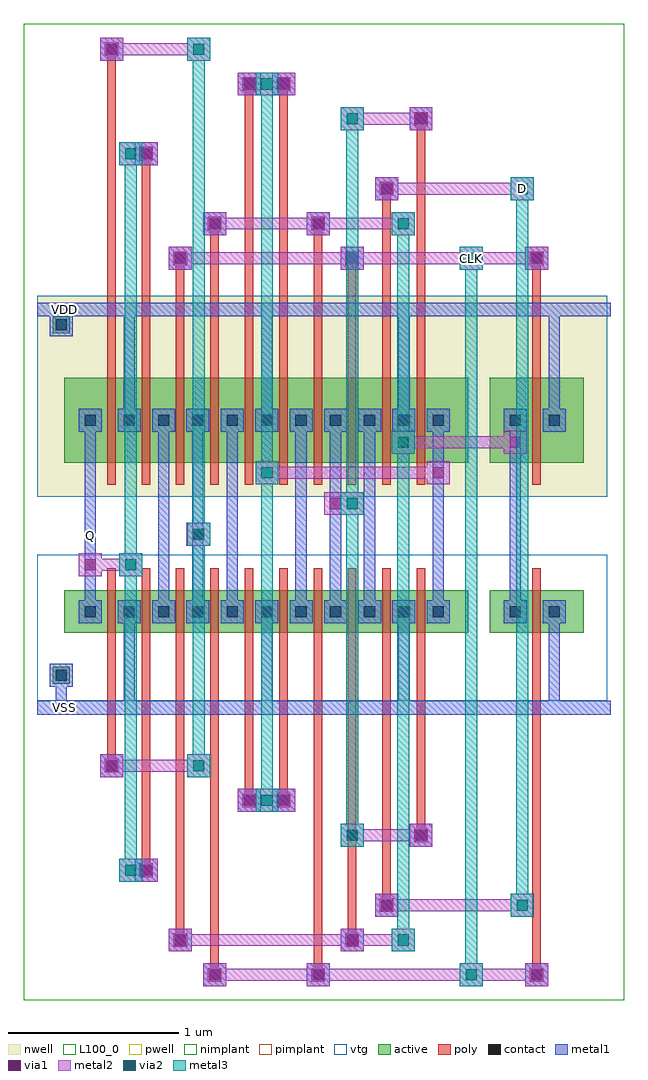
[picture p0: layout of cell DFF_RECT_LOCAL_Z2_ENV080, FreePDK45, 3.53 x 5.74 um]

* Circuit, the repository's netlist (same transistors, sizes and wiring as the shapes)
* cell DFF_RECT_LOCAL_Z2_ENV080
* pin CLK
* pin Q
* pin D
* pin VDD
* pin VSS
.SUBCKT DFF_RECT_LOCAL_Z2_ENV080 1 3 4 12 13
* net 1 CLK
* net 3 Q
* net 4 D
* net 12 VDD
* net 13 VSS
* device instance $1 r0 *1 0.4375,1.73 PMOS_VTG
M$1 12 7 3 12 PMOS_VTG L=0.05U W=0.5U AS=0.12625P AD=0.038125P PS=1.505U
+ PD=0.6525U
* device instance $2 r0 *1 0.64,1.73 PMOS_VTG
M$2 8 3 12 12 PMOS_VTG L=0.05U W=0.5U AS=0.038125P AD=0.0375P PS=0.6525U
+ PD=0.65U
* device instance $3 r0 *1 0.84,1.73 PMOS_VTG
M$3 7 1 8 12 PMOS_VTG L=0.05U W=0.5U AS=0.0375P AD=0.038125P PS=0.65U PD=0.6525U
* device instance $4 r0 *1 1.0425,1.73 PMOS_VTG
M$4 9 2 7 12 PMOS_VTG L=0.05U W=0.5U AS=0.038125P AD=0.038125P PS=0.6525U
+ PD=0.6525U
* device instance $5 r0 *1 1.245,1.73 PMOS_VTG
M$5 12 5 9 12 PMOS_VTG L=0.05U W=0.5U AS=0.038125P AD=0.038125P PS=0.6525U
+ PD=0.6525U
* device instance $6 r0 *1 1.4475,1.73 PMOS_VTG
M$6 10 5 12 12 PMOS_VTG L=0.05U W=0.5U AS=0.038125P AD=0.038125P PS=0.6525U
+ PD=0.6525U
* device instance $7 r0 *1 1.65,1.73 PMOS_VTG
M$7 6 2 10 12 PMOS_VTG L=0.05U W=0.5U AS=0.038125P AD=0.0375P PS=0.6525U
+ PD=0.65U
* device instance $8 r0 *1 1.85,1.73 PMOS_VTG
M$8 11 1 6 12 PMOS_VTG L=0.05U W=0.5U AS=0.0375P AD=0.038125P PS=0.65U
+ PD=0.6525U
* device instance $9 r0 *1 2.0525,1.73 PMOS_VTG
M$9 12 4 11 12 PMOS_VTG L=0.05U W=0.5U AS=0.038125P AD=0.038125P PS=0.6525U
+ PD=0.6525U
* device instance $10 r0 *1 2.255,1.73 PMOS_VTG
M$10 5 6 12 12 PMOS_VTG L=0.05U W=0.5U AS=0.038125P AD=0.12625P PS=0.6525U
+ PD=1.505U
* device instance $11 r0 *1 2.935,1.73 PMOS_VTG
M$11 12 1 2 12 PMOS_VTG L=0.05U W=0.5U AS=0.12625P AD=0.125P PS=1.505U PD=1.5U
* device instance $12 r0 *1 2.935,0.605 NMOS_VTG
M$12 13 1 2 13 NMOS_VTG L=0.05U W=0.25U AS=0.063125P AD=0.0625P PS=1.005U PD=1U
* device instance $13 r0 *1 0.4375,0.605 NMOS_VTG
M$13 13 7 3 13 NMOS_VTG L=0.05U W=0.25U AS=0.063125P AD=0.0190625P PS=1.005U
+ PD=0.4025U
* device instance $14 r0 *1 0.64,0.605 NMOS_VTG
M$14 8 3 13 13 NMOS_VTG L=0.05U W=0.25U AS=0.0190625P AD=0.01875P PS=0.4025U
+ PD=0.4U
* device instance $15 r0 *1 0.84,0.605 NMOS_VTG
M$15 7 2 8 13 NMOS_VTG L=0.05U W=0.25U AS=0.01875P AD=0.0190625P PS=0.4U
+ PD=0.4025U
* device instance $16 r0 *1 1.0425,0.605 NMOS_VTG
M$16 9 1 7 13 NMOS_VTG L=0.05U W=0.25U AS=0.0190625P AD=0.0190625P PS=0.4025U
+ PD=0.4025U
* device instance $17 r0 *1 1.245,0.605 NMOS_VTG
M$17 13 5 9 13 NMOS_VTG L=0.05U W=0.25U AS=0.0190625P AD=0.0190625P PS=0.4025U
+ PD=0.4025U
* device instance $18 r0 *1 1.4475,0.605 NMOS_VTG
M$18 10 5 13 13 NMOS_VTG L=0.05U W=0.25U AS=0.0190625P AD=0.0190625P PS=0.4025U
+ PD=0.4025U
* device instance $19 r0 *1 1.65,0.605 NMOS_VTG
M$19 6 1 10 13 NMOS_VTG L=0.05U W=0.25U AS=0.0190625P AD=0.01875P PS=0.4025U
+ PD=0.4U
* device instance $20 r0 *1 1.85,0.605 NMOS_VTG
M$20 11 2 6 13 NMOS_VTG L=0.05U W=0.25U AS=0.01875P AD=0.0190625P PS=0.4U
+ PD=0.4025U
* device instance $21 r0 *1 2.0525,0.605 NMOS_VTG
M$21 13 4 11 13 NMOS_VTG L=0.05U W=0.25U AS=0.0190625P AD=0.0190625P PS=0.4025U
+ PD=0.4025U
* device instance $22 r0 *1 2.255,0.605 NMOS_VTG
M$22 5 6 13 13 NMOS_VTG L=0.05U W=0.25U AS=0.0190625P AD=0.063125P PS=0.4025U
+ PD=1.005U
.ENDS DFF_RECT_LOCAL_Z2_ENV080

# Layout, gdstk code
import gdstk
lib = gdstk.Library(unit=1e-6, precision=2.5e-09)
def R(c, l, rs):  # rectangles x0, y0, x1, y1
    for r in rs: c.add(gdstk.rectangle(r[:2], r[2:], *l))
def A(c, l, x, y, w, h, nx, ny, dx, dy):  # array of equal rectangles
    R(c, l, [(x+i*dx, y+j*dy, x+i*dx+w, y+j*dy+h) for i in range(nx) for j in range(ny)])
active = (1, 0)
pwell = (2, 0)
nwell = (3, 0)
nimplant = (4, 0)
pimplant = (5, 0)
vtg = (6, 0)
poly = (9, 0)
contact = (10, 0)
metal1 = (11, 0)
via1 = (12, 0)
metal2 = (13, 0)
via2 = (14, 0)
metal3 = (15, 0)
L100_0 = (100, 0)

dff_rect_local_z2_env080 = lib.new_cell('DFF_RECT_LOCAL_Z2_ENV080')
R(dff_rect_local_z2_env080, active, [(0.09,0.18,0.19,0.28), (0.16,0.48,2.5325,0.73), (2.6575,0.48,3.21,0.73), (0.16,1.48,2.5325,1.98), (2.6575,1.48,3.21,1.98), (0.09,2.24,0.19,2.34)])
R(dff_rect_local_z2_env080, pwell, [(0,0.08,3.35,0.94), (0.02,0.24,3.35,0.94)])
R(dff_rect_local_z2_env080, nwell, [(0,1.28,3.35,2.46), (0.02,1.28,3.35,2.2)])
R(dff_rect_local_z2_env080, nimplant, [(0.16,0.48,2.5325,0.73), (2.6575,0.48,3.21,0.73), (0.09,2.24,0.19,2.34)])
R(dff_rect_local_z2_env080, pimplant, [(0.09,0.18,0.19,0.28), (0.16,1.48,2.5325,1.98), (2.6575,1.48,3.21,1.98)])
R(dff_rect_local_z2_env080, vtg, [(0,0.08,3.35,0.94), (0.02,0.24,3.35,0.94), (0,1.28,3.35,2.46), (0.02,1.28,3.35,2.2)])
A(dff_rect_local_z2_env080, poly, 0.815, 0.35, 0.05, 0.51, 5, 1, 0.2025, 0)
A(dff_rect_local_z2_env080, poly, 1.825, 0.35, 0.05, 0.51, 3, 1, 0.2025, 0)
A(dff_rect_local_z2_env080, poly, 0.815, 1.35, 0.05, 0.76, 5, 1, 0.2025, 0)
A(dff_rect_local_z2_env080, poly, 1.825, 1.35, 0.05, 0.76, 3, 1, 0.2025, 0)
R(dff_rect_local_z2_env080, poly, [(1.0025,-1.57,1.0825,-1.49), (1.0175,-1.57,1.0675,0.35), (1.61,-1.57,1.69,-1.49), (1.625,-1.57,1.675,0.35), (2.895,-1.57,2.975,-1.49), (2.91,-1.57,2.96,0.35), (0.8,-1.365,0.88,-1.285), (0.815,-1.365,0.865,0.35), (1.81,-1.365,1.89,-1.285), (1.825,-1.365,1.875,0.35), (2.0125,-1.16,2.0925,-1.08), (2.0275,-1.16,2.0775,0.35), (0.6,-0.955,0.68,-0.875), (0.615,-0.955,0.665,0.35), (2.215,-0.75,2.295,-0.67), (2.23,-0.75,2.28,0.35), (1.205,-0.545,1.285,-0.465), (1.22,-0.545,1.27,0.35), (1.4075,-0.545,1.4875,-0.465), (1.4225,-0.545,1.4725,0.35), (0.3975,-0.34,0.4775,-0.26), (0.4125,-0.34,0.4625,0.35), (0.4125,0.35,0.4625,0.86), (0.615,0.35,0.665,0.86), (2.91,0.35,2.96,0.86), (0.4125,1.35,0.4625,2.11), (0.615,1.35,0.665,2.11), (2.91,1.35,2.96,2.11), (0.4125,2.11,0.4625,3.95), (0.615,2.11,0.665,3.335), (0.815,2.11,0.865,2.72), (1.0175,2.11,1.0675,2.925), (1.22,2.11,1.27,3.745), (1.4225,2.11,1.4725,3.745), (1.625,2.11,1.675,2.925), (1.825,2.11,1.875,2.72), (2.0275,2.11,2.0775,3.13), (2.23,2.11,2.28,3.54), (2.91,2.11,2.96,2.72), (0.8,2.64,0.88,2.72), (1.81,2.64,1.89,2.72), (2.895,2.64,2.975,2.72), (1.0025,2.845,1.0825,2.925), (1.61,2.845,1.69,2.925), (2.0125,3.05,2.0925,3.13), (0.6,3.255,0.68,3.335), (2.215,3.46,2.295,3.54), (1.205,3.665,1.285,3.745), (1.4075,3.665,1.4875,3.745), (0.3975,3.87,0.4775,3.95)])
A(dff_rect_local_z2_env080, contact, 0.91, 0.5725, 0.065, 0.065, 5, 2, 0.2025, 1.125)
A(dff_rect_local_z2_env080, contact, 1.92, 0.5725, 0.065, 0.065, 3, 2, 0.2025, 1.125)
R(dff_rect_local_z2_env080, contact, [(1.01,-1.5625,1.075,-1.4975), (1.6175,-1.5625,1.6825,-1.4975), (2.9025,-1.5625,2.9675,-1.4975), (0.8075,-1.3575,0.8725,-1.2925), (1.8175,-1.3575,1.8825,-1.2925), (2.02,-1.1525,2.085,-1.0875), (0.6075,-0.9475,0.6725,-0.8825), (2.2225,-0.7425,2.2875,-0.6775), (1.2125,-0.5375,1.2775,-0.4725), (1.415,-0.5375,1.48,-0.4725), (0.405,-0.3325,0.47,-0.2675), (0.1075,0.1975,0.1725,0.2625), (0.28,0.5725,0.345,0.6375), (0.5075,0.5725,0.5725,0.6375), (0.71,0.5725,0.775,0.6375), (2.7775,0.5725,2.8425,0.6375), (3.005,0.5725,3.07,0.6375), (0.28,1.6975,0.345,1.7625), (0.5075,1.6975,0.5725,1.7625), (0.71,1.6975,0.775,1.7625), (2.7775,1.6975,2.8425,1.7625), (3.005,1.6975,3.07,1.7625), (0.1075,2.2575,0.1725,2.3225), (0.8075,2.6475,0.8725,2.7125), (1.8175,2.6475,1.8825,2.7125), (2.9025,2.6475,2.9675,2.7125), (1.01,2.8525,1.075,2.9175), (1.6175,2.8525,1.6825,2.9175), (2.02,3.0575,2.085,3.1225), (0.6075,3.2625,0.6725,3.3275), (2.2225,3.4675,2.2875,3.5325), (1.2125,3.6725,1.2775,3.7375), (1.415,3.6725,1.48,3.7375), (0.405,3.8775,0.47,3.9425)])
A(dff_rect_local_z2_env080, metal1, 0.5075, 0.04, 0.065, 0.565, 3, 1, 0.8075, 0)
A(dff_rect_local_z2_env080, metal1, 0.875, 0.5375, 0.135, 0.135, 5, 2, 0.2025, 1.125)
A(dff_rect_local_z2_env080, metal1, 1.885, 0.5375, 0.135, 0.135, 3, 2, 0.2025, 1.125)
A(dff_rect_local_z2_env080, metal1, 0.5075, 1.73, 0.065, 0.65, 3, 1, 0.8075, 0)
R(dff_rect_local_z2_env080, metal1, [(0.975,-1.5975,1.11,-1.4625), (1.5825,-1.5975,1.7175,-1.4625), (2.8675,-1.5975,3.0025,-1.4625), (0.7725,-1.3925,0.9075,-1.2575), (1.7825,-1.3925,1.9175,-1.2575), (1.985,-1.1875,2.12,-1.0525), (0.5725,-0.9825,0.7075,-0.8475), (2.1875,-0.7775,2.3225,-0.6425), (1.1775,-0.5725,1.3125,-0.4375), (1.38,-0.5725,1.515,-0.4375), (0.37,-0.3675,0.505,-0.2325), (0,0,3.37,0.08), (0.1075,0.04,0.1725,0.23), (3.005,0.04,3.07,0.605), (0.0725,0.1625,0.2075,0.2975), (0.245,0.5375,0.38,0.6725), (0.4725,0.5375,0.6075,0.6725), (0.675,0.5375,0.81,0.6725), (2.7425,0.5375,2.8775,0.6725), (2.97,0.5375,3.105,0.6725), (0.28,0.605,0.345,1.73), (0.71,0.605,0.775,1.73), (0.91,0.605,0.975,1.73), (1.1125,0.605,1.1775,1.73), (1.5175,0.605,1.5825,1.73), (1.72,0.605,1.785,1.73), (1.92,0.605,1.985,1.73), (2.325,0.605,2.39,1.73), (2.7775,0.605,2.8425,1.73), (0.245,1.6625,0.38,1.7975), (0.4725,1.6625,0.6075,1.7975), (0.675,1.6625,0.81,1.7975), (2.7425,1.6625,2.8775,1.7975), (2.97,1.6625,3.105,1.7975), (3.005,1.73,3.07,2.38), (0.0725,2.2225,0.2075,2.3575), (0.1075,2.29,0.1725,2.38), (0,2.34,3.37,2.42), (0.7725,2.6125,0.9075,2.7475), (1.7825,2.6125,1.9175,2.7475), (2.8675,2.6125,3.0025,2.7475), (0.975,2.8175,1.11,2.9525), (1.5825,2.8175,1.7175,2.9525), (1.985,3.0225,2.12,3.1575), (0.5725,3.2275,0.7075,3.3625), (2.1875,3.4325,2.3225,3.5675), (1.1775,3.6375,1.3125,3.7725), (1.38,3.6375,1.515,3.7725), (0.37,3.8425,0.505,3.9775)])
R(dff_rect_local_z2_env080, via1, [(1.01,-1.5625,1.075,-1.4975), (1.6175,-1.5625,1.6825,-1.4975), (2.9025,-1.5625,2.9675,-1.4975), (0.8075,-1.3575,0.8725,-1.2925), (1.8175,-1.3575,1.8825,-1.2925), (2.02,-1.1525,2.085,-1.0875), (0.6075,-0.9475,0.6725,-0.8825), (2.2225,-0.7425,2.2875,-0.6775), (1.2125,-0.5375,1.2775,-0.4725), (1.415,-0.5375,1.48,-0.4725), (0.405,-0.3325,0.47,-0.2675), (0.28,0.8475,0.345,0.9125), (0.91,1.0275,0.975,1.0925), (1.72,1.2075,1.785,1.2725), (2.325,1.3875,2.39,1.4525), (2.7775,1.5675,2.8425,1.6325), (0.8075,2.6475,0.8725,2.7125), (1.8175,2.6475,1.8825,2.7125), (2.9025,2.6475,2.9675,2.7125), (1.01,2.8525,1.075,2.9175), (1.6175,2.8525,1.6825,2.9175), (2.02,3.0575,2.085,3.1225), (0.6075,3.2625,0.6725,3.3275), (2.2225,3.4675,2.2875,3.5325), (1.2125,3.6725,1.2775,3.7375), (1.415,3.6725,1.48,3.7375), (0.405,3.8775,0.47,3.9425)])
R(dff_rect_local_z2_env080, metal2, [(0.975,-1.5975,1.11,-1.4625), (1.5825,-1.5975,1.7175,-1.4625), (2.4825,-1.5975,2.6175,-1.4625), (2.4825,-1.5975,2.6175,-1.4625), (2.4825,-1.5975,2.6175,-1.4625), (2.8675,-1.5975,3.0025,-1.4625), (1.0075,-1.565,2.585,-1.495), (1.615,-1.565,2.585,-1.495), (2.515,-1.565,2.97,-1.495), (0.7725,-1.3925,0.9075,-1.2575), (1.7825,-1.3925,1.9175,-1.2575), (2.0825,-1.3925,2.2175,-1.2575), (2.0825,-1.3925,2.2175,-1.2575), (0.805,-1.36,2.185,-1.29), (1.815,-1.36,2.185,-1.29), (1.985,-1.1875,2.12,-1.0525), (2.7825,-1.1875,2.9175,-1.0525), (2.0175,-1.155,2.885,-1.085), (0.4825,-0.9825,0.6175,-0.8475), (0.5725,-0.9825,0.7075,-0.8475), (0.515,-0.95,0.675,-0.88), (1.7825,-0.7775,1.9175,-0.6425), (2.1875,-0.7775,2.3225,-0.6425), (1.815,-0.745,2.29,-0.675), (1.1775,-0.5725,1.3125,-0.4375), (1.1775,-0.5725,1.4175,-0.4375), (1.2825,-0.5725,1.4175,-0.4375), (1.2825,-0.5725,1.4175,-0.4375), (1.38,-0.5725,1.515,-0.4375), (1.21,-0.54,1.385,-0.47), (1.315,-0.54,1.4825,-0.47), (0.37,-0.3675,0.505,-0.2325), (0.8825,-0.3675,1.0175,-0.2325), (0.4025,-0.335,0.985,-0.265), (0.245,0.8125,0.38,0.9475), (0.4825,0.8125,0.6175,0.9475), (0.2775,0.845,0.585,0.915), (0.875,0.9925,1.01,1.1275), (0.8825,0.9925,1.0175,1.1275), (0.9075,1.025,0.985,1.095), (1.685,1.1725,1.82,1.3075), (1.7825,1.1725,1.9175,1.3075), (1.7175,1.205,1.885,1.275), (1.2825,1.3525,1.4175,1.4875), (2.29,1.3525,2.425,1.4875), (1.315,1.385,2.3925,1.455), (2.0825,1.5325,2.2175,1.6675), (2.7425,1.5325,2.8775,1.6675), (2.115,1.565,2.845,1.635), (0.7725,2.6125,0.9075,2.7475), (1.7825,2.6125,1.9175,2.7475), (2.4825,2.6125,2.6175,2.7475), (2.4825,2.6125,2.6175,2.7475), (2.4825,2.6125,2.6175,2.7475), (2.8675,2.6125,3.0025,2.7475), (0.805,2.645,2.585,2.715), (1.815,2.645,2.585,2.715), (2.515,2.645,2.97,2.715), (0.975,2.8175,1.11,2.9525), (1.5825,2.8175,1.7175,2.9525), (2.0825,2.8175,2.2175,2.9525), (2.0825,2.8175,2.2175,2.9525), (1.0075,2.85,2.185,2.92), (1.615,2.85,2.185,2.92), (1.985,3.0225,2.12,3.1575), (2.7825,3.0225,2.9175,3.1575), (2.0175,3.055,2.885,3.125), (0.4825,3.2275,0.6175,3.3625), (0.5725,3.2275,0.7075,3.3625), (0.515,3.26,0.675,3.33), (1.7825,3.4325,1.9175,3.5675), (2.1875,3.4325,2.3225,3.5675), (1.815,3.465,2.29,3.535), (1.1775,3.6375,1.3125,3.7725), (1.1775,3.6375,1.4175,3.7725), (1.2825,3.6375,1.4175,3.7725), (1.2825,3.6375,1.4175,3.7725), (1.38,3.6375,1.515,3.7725), (1.21,3.67,1.385,3.74), (1.315,3.67,1.4825,3.74), (0.37,3.8425,0.505,3.9775), (0.8825,3.8425,1.0175,3.9775), (0.4025,3.875,0.985,3.945)])
R(dff_rect_local_z2_env080, via2, [(2.5175,-1.5625,2.5825,-1.4975), (2.1175,-1.3575,2.1825,-1.2925), (2.8175,-1.1525,2.8825,-1.0875), (0.5175,-0.9475,0.5825,-0.8825), (1.8175,-0.7425,1.8825,-0.6775), (1.3175,-0.5375,1.3825,-0.4725), (0.9175,-0.3325,0.9825,-0.2675), (0.5175,0.8475,0.5825,0.9125), (0.9175,1.0275,0.9825,1.0925), (1.8175,1.2075,1.8825,1.2725), (1.3175,1.3875,1.3825,1.4525), (2.1175,1.5675,2.1825,1.6325), (2.5175,2.6475,2.5825,2.7125), (2.1175,2.8525,2.1825,2.9175), (2.8175,3.0575,2.8825,3.1225), (0.5175,3.2625,0.5825,3.3275), (1.8175,3.4675,1.8825,3.5325), (1.3175,3.6725,1.3825,3.7375), (0.9175,3.8775,0.9825,3.9425)])
R(dff_rect_local_z2_env080, metal3, [(2.4825,-1.5975,2.6175,-1.4625), (2.515,-1.565,2.585,2.715), (2.0825,-1.3925,2.2175,-1.2575), (2.115,-1.36,2.185,2.92), (2.7825,-1.1875,2.9175,-1.0525), (2.815,-1.155,2.885,3.125), (0.4825,-0.9825,0.6175,-0.8475), (0.515,-0.95,0.585,3.33), (1.7825,-0.7775,1.9175,-0.6425), (1.815,-0.745,1.885,3.535), (1.2825,-0.5725,1.4175,-0.4375), (1.315,-0.54,1.385,3.74), (0.8825,-0.3675,1.0175,-0.2325), (0.915,-0.335,0.985,3.945), (0.4825,0.8125,0.6175,0.9475), (0.8825,0.9925,1.0175,1.1275), (1.7825,1.1725,1.9175,1.3075), (1.2825,1.3525,1.4175,1.4875), (2.0825,1.5325,2.2175,1.6675), (2.4825,2.6125,2.6175,2.7475), (2.0825,2.8175,2.2175,2.9525), (2.7825,3.0225,2.9175,3.1575), (0.4825,3.2275,0.6175,3.3625), (1.7825,3.4325,1.9175,3.5675), (1.2825,3.6375,1.4175,3.7725), (0.8825,3.8425,1.0175,3.9775)])
R(dff_rect_local_z2_env080, L100_0, [(-0.08,-1.6775,3.45,4.0575)])
dff_rect_local_z2_env080.add(gdstk.Label('VDD', (0.16,2.38), layer=11, texttype=0))
dff_rect_local_z2_env080.add(gdstk.Label('VSS', (0.16,0.04), layer=11, texttype=0))
dff_rect_local_z2_env080.add(gdstk.Label('Q', (0.3125,1.05), layer=11, texttype=0))
dff_rect_local_z2_env080.add(gdstk.Label('CLK', (2.55,2.68), layer=15, texttype=0))
dff_rect_local_z2_env080.add(gdstk.Label('D', (2.85,3.09), layer=15, texttype=0))

lib.write_gds('DFF_RECT_LOCAL_Z2_ENV080.gds')
